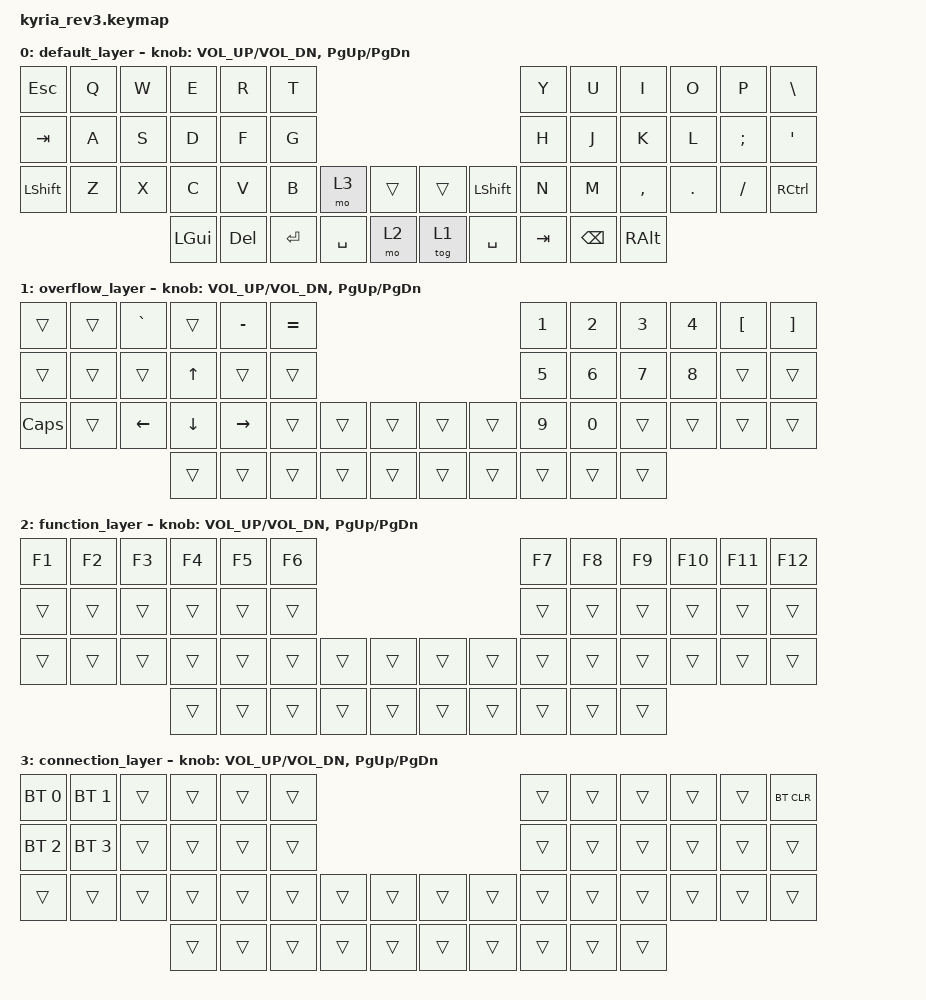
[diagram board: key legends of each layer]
/*
 * Copyright (c) 2023 The ZMK Contributors
 *
 * SPDX-License-Identifier: MIT
 */

#include <behaviors.dtsi>
#include <dt-bindings/zmk/bt.h>
#include <dt-bindings/zmk/keys.h>

// Uncomment this block if using RGB
// &led_strip {
//     // chain-length = <6>; // underglow only
//     // chain-length = <31>; // Uncomment if using both per-key and underglow LEDs
//     chain-length = <25>; // Uncomment if using only per-key LEDs.
// };


/ {
    keymap {
        compatible = "zmk,keymap";

        default_layer { // layer 0
            // ---------------------------------------------------------------------------------------------------------------------------------
            // |  ESC  |  Q  |  W  |  E   |  R   |  T   |                                          |  Y   |  U    |  I    |  O   |   P   |   |\  |
            // |  TAB  |  A  |  S  |  D   |  F   |  G   |                                          |  H   |  J    |  K    |  L   |   ;:   |  '"  |
            // | SHIFT |  Z  |  X  |  C   |  V   |  B   |  Layer3 | ENCODER |  | ENCODER | L SHIFT |  N   |  M    |  ,<  |  .>  |   /?  | CTRL |
            //                     | GUI  | DEL  | RET  |  SPACE  | Layer2  |  |  Layer1 |  SPACE  | TAB  | BSPC  | R-ALT |
            bindings = <
            &kp ESC   &kp Q &kp W &kp E &kp R &kp T                                                  &kp Y &kp U  &kp I     &kp O   &kp P    &kp BSLH
            &kp TAB   &kp A &kp S &kp D &kp F &kp G                                                  &kp H &kp J  &kp K     &kp L   &kp SEMI &kp SQT
            &kp LSHFT &kp Z &kp X &kp C &kp V &kp B           &mo 3 &trans        &trans  &kp LSHFT  &kp N &kp M  &kp COMMA &kp DOT &kp FSLH &kp RCTRL
                                  &kp LGUI &kp DEL &kp RET    &kp SPACE &mo 2     &tog 1  &kp SPACE  &kp TAB &kp BSPC &kp RALT
            >;

            // left encoder volume up (clockwise) and volume down (counter-clockwise)
            // right encoder page up (clockwise) and page down (counter-clockwise)
            sensor-bindings = <&inc_dec_kp C_VOL_UP C_VOL_DN &inc_dec_kp PG_UP PG_DN>;
        };
            overflow_layer { // layer 1
            // ---------------------------------------------------------------------------------------------------------------------------------
            // |    |    | `~ |    | -_ | =+ |                                               | 1! | 2@ | 3# | 4$ | [{ | ]} |
            // |    |    |    | UP |    |    |                                               | 5% | 6^ | 7& | 8* |    |    |
            // | CAPS|    |LEFT|DOWN|RGHT|    |    |    |                           |    |    | 9( | 0) |    |    |    |    |      
            //                |    |    |    |    |    |                           |    |    |    |    |    |
            bindings = <
            &trans &trans &kp GRAVE &trans   &kp MINUS &kp EQUAL                                  &kp N1 &kp N2 &kp N3 &kp N4 &kp LBKT &kp RBKT
            &trans &trans &trans    &kp UP   &trans    &trans                                     &kp N5 &kp N6 &kp N7 &kp N8 &trans &trans
            &kp CAPS &trans &kp LEFT  &kp DOWN &kp RIGHT &trans &trans &trans       &trans &trans &kp N9 &kp N0 &trans &trans &trans &trans
                                    &trans   &trans    &trans &trans &trans         &trans &trans &trans &trans &trans
            >;

            sensor-bindings = <&inc_dec_kp C_VOL_UP C_VOL_DN &inc_dec_kp PG_UP PG_DN>;
        };
        function_layer { // layer 2
            // ---------------------------------------------------------------------------------------------------------------------------------
            // | F1 | F2 | F3 | F4 | F5 | F6 |                                               | F7 | F8 | F9 | F10 | F11 | F12 |
            // |    |    |    |    |    |    |                                               |    |    |    |    |    |    |
            // |    |    |    |    |    |    |    |    |                           |    |    |    |    |    |    |    |    |      
            //                |    |    |    |    |    |                           |    |    |    |    |    |
            bindings = <
            &kp F1 &kp F2 &kp F3 &kp F4 &kp F5 &kp F6                                    &kp F7 &kp F8 &kp F9 &kp F10 &kp F11 &kp F12
            &trans &trans &trans &trans &trans &trans                                    &trans &trans &trans &trans &trans &trans
            &trans &trans &trans &trans &trans &trans &trans &trans        &trans &trans &trans &trans &trans &trans &trans &trans
                                 &trans &trans &trans &trans &trans        &trans &trans &trans &trans &trans
            >;

            sensor-bindings = <&inc_dec_kp C_VOL_UP C_VOL_DN &inc_dec_kp PG_UP PG_DN>;
        };
        connection_layer { // layer 3
            // ---------------------------------------------------------------------------------------------------------------------------------
            // | BTSEL0  | BTSEL1  |    |    |    |    |                                               |    |    |    |    |    |   BT_CLR  |
            // | BTSEL2  | BTSEL3 |    |    |    |    |                                               |    |    |    |    |    |           |
            // |        |        |    |    |    |    |    |    |                           |    |    |    |    |    |    |    |           |      
            //                       |    |    |    |    |    |                           |    |    |    |    |    |
            bindings = <
            &bt BT_SEL 0  &bt BT_SEL 1  &trans &trans &trans &trans                      &trans &trans &trans &trans &trans &bt BT_CLR
            &bt BT_SEL 2  &bt BT_SEL 3  &trans &trans &trans &trans                      &trans &trans &trans &trans &trans &trans
            &trans &trans &trans &trans &trans &trans &trans &trans        &trans &trans &trans &trans &trans &trans &trans &trans
                                 &trans &trans &trans &trans &trans        &trans &trans &trans &trans &trans
            >;

            sensor-bindings = <&inc_dec_kp C_VOL_UP C_VOL_DN &inc_dec_kp PG_UP PG_DN>;
        };
    };
};
